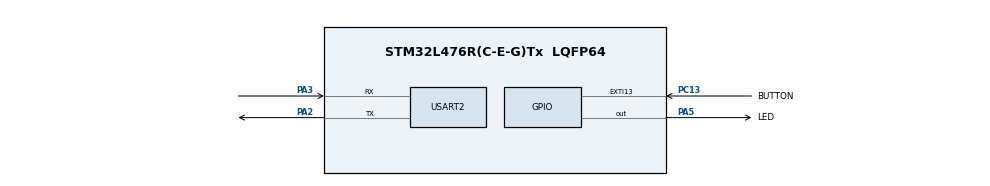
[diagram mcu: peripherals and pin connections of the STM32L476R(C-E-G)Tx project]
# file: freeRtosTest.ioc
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FREERTOS.Events01=mainEvent,Dynamic,NULL
FREERTOS.Mutexes01=ledMutex,Dynamic,NULL,Available
FREERTOS.Tasks01=defaultTask,24,128,StartDefaultTask,Default,NULL,Dynamic,NULL,NULL;ledLowFreqTask,24,128,StartLedLowFreqTask,Default,NULL,Dynamic,NULL,NULL;ledHighFreqTask,24,128,StartLedHighFreqTask,Default,NULL,Dynamic,NULL,NULL
FREERTOS.Timers01=lowFreqTimer,LowFreqCallback,osTimerPeriodic,Default,NULL,Dynamic,NULL;highFreqTimer,HighFreqCallback,osTimerPeriodic,Default,NULL,Dynamic,NULL
FREERTOS.configUSE_NEWLIB_REENTRANT=1
Mcu.Family=STM32L4
Mcu.Name=STM32L476R(C-E-G)Tx
Mcu.Package=LQFP64
NVIC.EXTI15_10_IRQn=true\:5\:0\:true\:false\:true\:false\:true\:true\:true
NVIC.PriorityGroup=NVIC_PRIORITYGROUP_4
NVIC.TIM1_UP_TIM16_IRQn=true\:15\:0\:false\:false\:true\:false\:false\:true\:true
NVIC.TimeBase=TIM1_UP_TIM16_IRQn
NVIC.TimeBaseIP=TIM1
PA2.Mode=Asynchronous
PA2.Signal=USART2_TX
PA3.Mode=Asynchronous
PA3.Signal=USART2_RX
PA5.GPIO_Label=LED
PA5.Signal=GPIO_Output
PC13.GPIO_Label=BUTTON
PC13.GPIO_ModeDefaultEXTI=GPIO_MODE_IT_FALLING
PC13.GPIO_PuPd=GPIO_PULLDOWN
PC13.Signal=GPXTI13
ProjectManager.HeapSize=0x200
ProjectManager.StackSize=0x400
ProjectManager.TargetToolchain=STM32CubeIDE
RCC.HSE_VALUE=8000000
RCC.HSI_VALUE=16000000
RCC.LSE_VALUE=32768
RCC.MSI_VALUE=4000000
RCC.VCOOutputFreq_Value=32000000
USART2.VirtualMode-Asynchronous=VM_ASYNC
VP_FREERTOS_VS_CMSIS_V2.Mode=CMSIS_V2
VP_SYS_VS_tim1.Mode=TIM1
board=custom

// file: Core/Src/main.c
/* USER CODE BEGIN Header */
/**
  ******************************************************************************
  * @file           : main.c
  * @brief          : Main program body
  ******************************************************************************
  * @attention
  *
  * Copyright (c) 2026 STMicroelectronics.
  * All rights reserved.
  *
  * This software is licensed under terms that can be found in the LICENSE file
  * in the root directory of this software component.
  * If no LICENSE file comes with this software, it is provided AS-IS.
  *
  ******************************************************************************
  */
/* USER CODE END Header */
#include "main.h"
#include "cmsis_os.h"

/* USER CODE BEGIN Includes */

#include <stdio.h>
#include <string.h>

/* USER CODE END Includes */

/* USER CODE BEGIN PTD */

typedef enum State {
	STATE_OFF,
	STATE_LOW,
	STATE_BOTH,
} State;

/* USER CODE END PTD */

/* USER CODE BEGIN PD */

#define LOW_FREQ_PERIOD_MS 50
#define HIGH_FREQ_PERIOD_MS 45
#define LED_LOW_FREQ_EVT_BIT 0x01
#define LED_HIGH_FREQ_EVT_BIT 0x02
#define BUTTON_EVT_BIT 0x04
#define BUF_MAX_SIZE 0x10

/* USER CODE END PD */

/* USER CODE BEGIN PM */

#define CONST_MS_TO_TICKS(ms) ms

/* USER CODE END PM */

UART_HandleTypeDef huart2;

/* Definitions for defaultTask */
osThreadId_t defaultTaskHandle;
const osThreadAttr_t defaultTask_attributes = {
  .name = "defaultTask",
  .stack_size = 128 * 4,
  .priority = (osPriority_t) osPriorityNormal,
};
/* Definitions for ledLowFreqTask */
osThreadId_t ledLowFreqTaskHandle;
const osThreadAttr_t ledLowFreqTask_attributes = {
  .name = "ledLowFreqTask",
  .stack_size = 128 * 4,
  .priority = (osPriority_t) osPriorityNormal,
};
/* Definitions for ledHighFreqTask */
osThreadId_t ledHighFreqTaskHandle;
const osThreadAttr_t ledHighFreqTask_attributes = {
  .name = "ledHighFreqTask",
  .stack_size = 128 * 4,
  .priority = (osPriority_t) osPriorityNormal,
};
/* Definitions for lowFreqTimer */
osTimerId_t lowFreqTimerHandle;
const osTimerAttr_t lowFreqTimer_attributes = {
  .name = "lowFreqTimer"
};
/* Definitions for highFreqTimer */
osTimerId_t highFreqTimerHandle;
const osTimerAttr_t highFreqTimer_attributes = {
  .name = "highFreqTimer"
};
/* Definitions for ledMutex */
osMutexId_t ledMutexHandle;
const osMutexAttr_t ledMutex_attributes = {
  .name = "ledMutex"
};
/* Definitions for mainEvent */
osEventFlagsId_t mainEventHandle;
const osEventFlagsAttr_t mainEvent_attributes = {
  .name = "mainEvent"
};
/* USER CODE BEGIN PV */

uint8_t ledState = 0u;
State state = STATE_OFF;

/* USER CODE END PV */

void SystemClock_Config(void);
static void MX_GPIO_Init(void);
static void MX_USART2_UART_Init(void);
void StartDefaultTask(void *argument);
void StartLedLowFreqTask(void *argument);
void StartLedHighFreqTask(void *argument);
void LowFreqCallback(void *argument);
void HighFreqCallback(void *argument);

int main(void)
{

  /* MCU Configuration--------------------------------------------------------*/

  /* Reset of all peripherals, Initializes the Flash interface and the Systick. */
  HAL_Init();

  /* Configure the system clock */
  SystemClock_Config();

  /* Initialize all configured peripherals */
  MX_GPIO_Init();
  MX_USART2_UART_Init();

  /* Init scheduler */
  osKernelInitialize();
  /* Create the mutex(es) */
  /* creation of ledMutex */
  ledMutexHandle = osMutexNew(&ledMutex_attributes);

  /* Create the timer(s) */
  /* creation of lowFreqTimer */
  lowFreqTimerHandle = osTimerNew(LowFreqCallback, osTimerPeriodic, NULL, &lowFreqTimer_attributes);

  /* creation of highFreqTimer */
  highFreqTimerHandle = osTimerNew(HighFreqCallback, osTimerPeriodic, NULL, &highFreqTimer_attributes);

  /* Create the thread(s) */
  /* creation of defaultTask */
  defaultTaskHandle = osThreadNew(StartDefaultTask, NULL, &defaultTask_attributes);

  /* creation of ledLowFreqTask */
  ledLowFreqTaskHandle = osThreadNew(StartLedLowFreqTask, NULL, &ledLowFreqTask_attributes);

  /* creation of ledHighFreqTask */
  ledHighFreqTaskHandle = osThreadNew(StartLedHighFreqTask, NULL, &ledHighFreqTask_attributes);

  /* creation of mainEvent */
  mainEventHandle = osEventFlagsNew(&mainEvent_attributes);

  /* Start scheduler */
  osKernelStart();

  /* We should never get here as control is now taken by the scheduler */

  /* Infinite loop */
  while (1)
  {

  }
}

void SystemClock_Config(void)
{
  RCC_OscInitTypeDef RCC_OscInitStruct = {0};
  RCC_ClkInitTypeDef RCC_ClkInitStruct = {0};

  /** Configure the main internal regulator output voltage
  */
  if (HAL_PWREx_ControlVoltageScaling(PWR_REGULATOR_VOLTAGE_SCALE1) != HAL_OK)
  {
    Error_Handler();
  }

  /** Initializes the RCC Oscillators according to the specified parameters
  * in the RCC_OscInitTypeDef structure.
  */
  RCC_OscInitStruct.OscillatorType = RCC_OSCILLATORTYPE_MSI;
  RCC_OscInitStruct.MSIState = RCC_MSI_ON;
  RCC_OscInitStruct.MSICalibrationValue = 0;
  RCC_OscInitStruct.MSIClockRange = RCC_MSIRANGE_6;
  RCC_OscInitStruct.PLL.PLLState = RCC_PLL_NONE;
  if (HAL_RCC_OscConfig(&RCC_OscInitStruct) != HAL_OK)
  {
    Error_Handler();
  }

  /** Initializes the CPU, AHB and APB buses clocks
  */
  RCC_ClkInitStruct.ClockType = RCC_CLOCKTYPE_HCLK|RCC_CLOCKTYPE_SYSCLK
                              |RCC_CLOCKTYPE_PCLK1|RCC_CLOCKTYPE_PCLK2;
  RCC_ClkInitStruct.SYSCLKSource = RCC_SYSCLKSOURCE_MSI;
  RCC_ClkInitStruct.AHBCLKDivider = RCC_SYSCLK_DIV1;
  RCC_ClkInitStruct.APB1CLKDivider = RCC_HCLK_DIV1;
  RCC_ClkInitStruct.APB2CLKDivider = RCC_HCLK_DIV1;

  if (HAL_RCC_ClockConfig(&RCC_ClkInitStruct, FLASH_LATENCY_0) != HAL_OK)
  {
    Error_Handler();
  }
}

static void MX_USART2_UART_Init(void)
{

  huart2.Instance = USART2;
  huart2.Init.BaudRate = 115200;
  huart2.Init.WordLength = UART_WORDLENGTH_8B;
  huart2.Init.StopBits = UART_STOPBITS_1;
  huart2.Init.Parity = UART_PARITY_NONE;
  huart2.Init.Mode = UART_MODE_TX_RX;
  huart2.Init.HwFlowCtl = UART_HWCONTROL_NONE;
  huart2.Init.OverSampling = UART_OVERSAMPLING_16;
  huart2.Init.OneBitSampling = UART_ONE_BIT_SAMPLE_DISABLE;
  huart2.AdvancedInit.AdvFeatureInit = UART_ADVFEATURE_NO_INIT;
  if (HAL_UART_Init(&huart2) != HAL_OK)
  {
    Error_Handler();
  }

}

static void MX_GPIO_Init(void)
{
  GPIO_InitTypeDef GPIO_InitStruct = {0};

  /* GPIO Ports Clock Enable */
  __HAL_RCC_GPIOC_CLK_ENABLE();
  __HAL_RCC_GPIOA_CLK_ENABLE();

  /*Configure GPIO pin Output Level */
  HAL_GPIO_WritePin(LED_GPIO_Port, LED_Pin, GPIO_PIN_RESET);

  /*Configure GPIO pin : BUTTON_Pin */
  GPIO_InitStruct.Pin = BUTTON_Pin;
  GPIO_InitStruct.Mode = GPIO_MODE_IT_FALLING;
  GPIO_InitStruct.Pull = GPIO_PULLDOWN;
  HAL_GPIO_Init(BUTTON_GPIO_Port, &GPIO_InitStruct);

  /*Configure GPIO pin : LED_Pin */
  GPIO_InitStruct.Pin = LED_Pin;
  GPIO_InitStruct.Mode = GPIO_MODE_OUTPUT_PP;
  GPIO_InitStruct.Pull = GPIO_NOPULL;
  GPIO_InitStruct.Speed = GPIO_SPEED_FREQ_LOW;
  HAL_GPIO_Init(LED_GPIO_Port, &GPIO_InitStruct);

  /* EXTI interrupt init*/
  HAL_NVIC_SetPriority(EXTI15_10_IRQn, 5, 0);
  HAL_NVIC_EnableIRQ(EXTI15_10_IRQn);

}

/* USER CODE BEGIN 4 */

void HAL_GPIO_EXTI_Callback(uint16_t pin)
{
	printf("interrupt\r\n");
	osEventFlagsSet(mainEventHandle, BUTTON_EVT_BIT);
}

void _write(int file, char *ptr, int len)
{
	uint8_t buf[BUF_MAX_SIZE];

	while (len > BUF_MAX_SIZE) {
		memcpy(buf, ptr, BUF_MAX_SIZE);
		HAL_UART_Transmit(&huart2, buf, BUF_MAX_SIZE, 1000);

		len -= BUF_MAX_SIZE;
		ptr += BUF_MAX_SIZE;
	}

	memcpy(buf, ptr, len);
	HAL_UART_Transmit(&huart2, buf, len, 1000);
}

/* USER CODE END 4 */

void StartDefaultTask(void *argument)
{
  /* USER CODE BEGIN 5 */
  /* Infinite loop */

  printf("defaultTask started\r\n");
  for(;;)
  {
	  printf("defaultTask loop\r\n");

	  switch (state) {
	  case STATE_OFF:
		  osTimerStop(lowFreqTimerHandle);
		  osTimerStop(highFreqTimerHandle);
		  state = STATE_LOW;
		  break;
	  case STATE_LOW:
		  osTimerStart(lowFreqTimerHandle, CONST_MS_TO_TICKS(LOW_FREQ_PERIOD_MS));
		  state = STATE_BOTH;
		  break;
	  case STATE_BOTH:
		  osTimerStart(highFreqTimerHandle, CONST_MS_TO_TICKS(HIGH_FREQ_PERIOD_MS));
		  state = STATE_OFF;
		  break;
	  default:
		  state = STATE_OFF;
		  break;
	  }

	  osEventFlagsWait(mainEventHandle, BUTTON_EVT_BIT, osFlagsWaitAny, osWaitForever);
  }
  /* USER CODE END 5 */
}

void StartLedLowFreqTask(void *argument)
{
  /* USER CODE BEGIN StartLedLowFreqTask */
  /* Infinite loop */
  for(;;)
  {
	  osEventFlagsWait(mainEventHandle, LED_LOW_FREQ_EVT_BIT, osFlagsWaitAny, osWaitForever);

	  osMutexAcquire(ledMutexHandle, osWaitForever);

	  printf("LowFreqTask\r\n");
	  ledState = !ledState;
	  HAL_GPIO_WritePin(LED_GPIO_Port, LED_Pin, ledState);

	  osMutexRelease(ledMutexHandle);
  }
  /* USER CODE END StartLedLowFreqTask */
}

void StartLedHighFreqTask(void *argument)
{
  /* USER CODE BEGIN StartLedHighFreqTask */
  /* Infinite loop */
  for(;;)
  {
	  osEventFlagsWait(mainEventHandle, LED_HIGH_FREQ_EVT_BIT, osFlagsWaitAny, osWaitForever);

	  osMutexAcquire(ledMutexHandle, osWaitForever);

	  printf("HighFreqTask\r\n");
	  ledState = !ledState;
	  HAL_GPIO_WritePin(LED_GPIO_Port, LED_Pin, ledState);

	  osMutexRelease(ledMutexHandle);
  }
  /* USER CODE END StartLedHighFreqTask */
}

/* LowFreqCallback function */
void LowFreqCallback(void *argument)
{
  /* USER CODE BEGIN LowFreqCallback */
	osEventFlagsSet(mainEventHandle, LED_LOW_FREQ_EVT_BIT);
  /* USER CODE END LowFreqCallback */
}

/* HighFreqCallback function */
void HighFreqCallback(void *argument)
{
  /* USER CODE BEGIN HighFreqCallback */
	osEventFlagsSet(mainEventHandle, LED_HIGH_FREQ_EVT_BIT);
  /* USER CODE END HighFreqCallback */
}

void HAL_TIM_PeriodElapsedCallback(TIM_HandleTypeDef *htim)
{
  if (htim->Instance == TIM1)
  {
    HAL_IncTick();
  }
}

void Error_Handler(void)
{
  __disable_irq();
  while (1)
  {
  }
}
